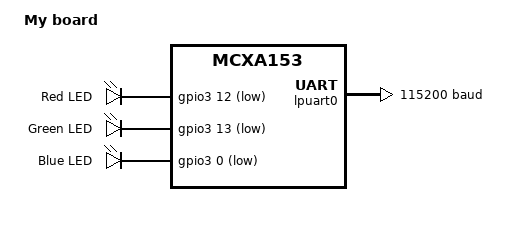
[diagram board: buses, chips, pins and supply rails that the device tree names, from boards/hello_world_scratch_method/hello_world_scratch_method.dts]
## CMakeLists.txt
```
cmake_minimum_required(VERSION 3.20.0)

list(APPEND BOARD_ROOT ${CMAKE_CURRENT_SOURCE_DIR})
set(DTC_OVERLAY_FILE "${CMAKE_CURRENT_SOURCE_DIR}/app.overlay")

find_package(Zephyr REQUIRED)
project(my_zephyr_app)

target_sources(app PRIVATE src/main.cpp)


add_subdirectory(drivers/our_driver)
add_subdirectory(drivers/base_sensor_driver)
```

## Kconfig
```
choice
    prompt "Led blink speed"
    default BLINK_SPEED_250MS

config BLINK_SPEED_250MS
    bool "Fast"

config BLINK_SPEED_1000MS
    bool "Normal"

config BLINK_SPEED_2000MS
    bool "Slow"        
endchoice

config BLINK_SLEEP_TIME_MS
    int 
    default 250 if BLINK_SPEED_250MS
    default 1000 if BLINK_SPEED_1000MS
    default 2000 if BLINK_SPEED_2000MS
    default 0

# Assignment l4-task1
config APP_HEARTBEAT_PERIOD_MS
    int "App heartbeat in ms"
    range 100 2000
    default 500


source "Kconfig.zephyr"
rsource "Kconfig.led"
rsource "drivers/our_driver/Kconfig"
rsource "drivers/base_sensor_driver/Kconfig"
```

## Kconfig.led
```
menuconfig LED_SUBSYSTEM
	bool "LED Subsystem"
	default y
	help
	  Enable support for the LED subsystem.

if LED_SUBSYSTEM

choice LED_BLINK_SLEEP_TIME
	prompt "LED blink sleep time"
	default LED_BLINK_SLEEP_MEDIUM
	help
	  Select the sleep time between LED blink phases.

config LED_BLINK_SLEEP_SHORT
	bool "100ms (short)"

config LED_BLINK_SLEEP_MEDIUM
	bool "1s (medium)"

config LED_BLINK_SLEEP_LONG
	bool "5s (long)"

endchoice

menuconfig LED_ADVANCED_SETTINGS
	bool "Advanced LED settings"
	help
	  Enable advanced LED configuration options.

if LED_ADVANCED_SETTINGS

config LED_BRIGHTNESS
	int "LED brightness (0-100)"
	range 0 100
	default 100
	help
	  Set the LED brightness as a percentage (0-100).

config LED_FADE_DURATION
	int "LED fade duration (ms)"
	default 500
	help
	  Duration of the LED fade effect in milliseconds.


menu "Expert settings"

config LED_DEBUG
	bool "Enable LED debugging"
	help
	  Enable debug output for the LED subsystem.

config LED_CUSTOM_BLINK_PATTERN
	bool "Custom blink pattern"
	help
	  Allow a user-defined LED blink pattern.

endmenu

endif # LED_ADVANCED_SETTINGS

endif # LED_SUBSYSTEM
```

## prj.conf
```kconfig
CONFIG_GPIO=y
CONFIG_LOG=y
CONFIG_OUR_DRIVER=y
CONFIG_BASE_SENSOR_DRIVER=y
CONFIG_SHELL=y
CONFIG_SHELL_BACKEND_SERIAL=y

CONFIG_BLINK_SPEED_2000MS=y
```

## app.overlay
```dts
// / {
// 	aliases{
// 		app-led = "/leds/led_0";
// 	};
// };

/ {
	our_driver0: our_driver0 {
		compatible = "our,driver";
		status = "okay";
	};

	our_driver1: our_driver1 {
		compatible = "our,driver";
		status = "okay";
	};
};

/ {
	base_sensor_driver: led-sensor {
		compatible = "base,sensor-driver";
		led-gpios = <&gpio0 13 GPIO_ACTIVE_HIGH>;
		status = "okay";
	};
};
```

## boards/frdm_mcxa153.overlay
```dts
/{
	leds{
		green_led: led_1{
			gpios = <&gpio3 0xd GPIO_ACTIVE_LOW>;
		};

		blue_led: led_2{
			gpios = <&gpio3 0x0 GPIO_ACTIVE_LOW>;
		};
	};
};
```

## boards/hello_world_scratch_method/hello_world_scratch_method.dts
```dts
/dts-v1/;

#include <nxp/nxp_mcxa153.dtsi>
#include "hello_world_scratch_method.dtsi"


/ {
	model = "My board";
	compatible = "iomico,my_board";

	aliases{
		led0 = &red_led;
		led1 = &green_led;
		led2 = &blue_led;
	};

	chosen{
		zephyr,sram = &sram0;
		zephyr,flash = &flash;
		zephyr,flash-controller = &fmu;
		zephyr,code-partition = &slot0_partition;
		zephyr,console = &lpuart0;
		zephyr,shell-uart = &lpuart0;
	};

	leds{
		compatible = "gpio-leds";

		red_led: led_0 {
			gpios = <&gpio3 12 GPIO_ACTIVE_LOW>;
			label = "Red LED";
		};

		green_led: led_1 {
			gpios = <&gpio3 13 GPIO_ACTIVE_LOW>;
			label = "Green LED";
		};

		blue_led: led_2 {
			gpios = <&gpio3 0 GPIO_ACTIVE_LOW>;
			label = "Blue LED";
		};
	};
};

&gpio3 {
	status = "okay";
};

&flash {
	partitions {
		compatible = "fixed-partitions";
		#address-cells = <1>;
		#size-cells = <1>;

		boot_partition: partition@0 {
			label = "mcuboot";
			reg = <0x00000000 DT_SIZE_K(32)>;
			read-only;
		};
		slot0_partition: partition@8000 {
			label = "image-0";
			reg = <0x00008000 DT_SIZE_K(40)>;
		};
		slot1_partition: partition@12000 {
			label = "image-1";
			reg = <0x00012000 DT_SIZE_K(40)>;
		};
		storage_partition: partition@1C000 {
			label = "storage";
			reg = <0x0001C000 DT_SIZE_K(16)>;
		};
	};
};

&lpuart0 {
	status = "okay";
	current-speed = <115200>;
	pinctrl-0 = <&pinmux_lpuart0>;
	pinctrl-names = "default";
};
```

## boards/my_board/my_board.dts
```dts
/dts-v1/;

#include <nxp/nxp_mcxa153.dtsi>


/ {
	model = "My board";
	compatible = "iomico,my_board";

	aliases{
		led0 = &red_led;
		led1 = &green_led;
		led2 = &blue_led;
	};

	chosen{
		zephyr,sram = &sram0;
		zephyr,flash = &flash;
		zephyr,flash-controller = &fmu;
		zephyr,code-partition = &slot0_partition;
	};

	leds{
		compatible = "gpio-leds";

		red_led: led_0 {
			gpios = <&gpio3 12 GPIO_ACTIVE_LOW>;
			label = "Red LED";
		};

		green_led: led_1 {
			gpios = <&gpio3 13 GPIO_ACTIVE_LOW>;
			label = "Green LED";
		};

		blue_led: led_2 {
			gpios = <&gpio3 0 GPIO_ACTIVE_LOW>;
			label = "Blue LED";
		};
	};
};

&gpio3 {
	status = "okay";
};

&flash {
	partitions {
		compatible = "fixed-partitions";
		#address-cells = <1>;
		#size-cells = <1>;

		boot_partition: partition@0 {
			label = "mcuboot";
			reg = <0x00000000 DT_SIZE_K(32)>;
			read-only;
		};
		slot0_partition: partition@8000 {
			label = "image-0";
			reg = <0x00008000 DT_SIZE_K(40)>;
		};
		slot1_partition: partition@12000 {
			label = "image-1";
			reg = <0x00012000 DT_SIZE_K(40)>;
		};
		storage_partition: partition@1C000 {
			label = "storage";
			reg = <0x0001C000 DT_SIZE_K(16)>;
		};
	};
};
```

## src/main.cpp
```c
#include "zephyr/drivers/sensor.h"
#include <zephyr/drivers/gpio.h>
#include <zephyr/kernel.h>
#include <zephyr/logging/log.h>

/* The devicetree node identifier for the "led0" alias. */
#define LED_NODE DT_ALIAS(led2)

/* devicetree reference by node label identifier */
//#define LED_NODE DT_NODELABEL(green_led)

/* devicetree reference by node path identifier */
// Blue led: /leds/led_2
//#define LED_NODE DT_PATH(leds, led_2)

/* devicetree reference by alias */
//#define LED_NODE DT_ALIAS(warning_led)

/* Assignment l4-task1 - to use the app.overlay alias */
//#define LED_NODE DT_ALIAS(app_led)


void hello_world(void);

static const struct gpio_dt_spec led = GPIO_DT_SPEC_GET(LED_NODE, gpios);

void hello_world(void)
{
	printk("hello world\n");
}

LOG_MODULE_REGISTER(main, LOG_LEVEL_INF);

namespace  {
    void test() {
        const struct device* driver = DEVICE_DT_GET(DT_NODELABEL(our_driver0));
        struct sensor_value val;
        auto ret = sensor_channel_get(driver, SENSOR_CHAN_AMBIENT_TEMP, &val);
        LOG_INF("Channel ret %d", ret);
    }

}

/* Custom API declaration */
struct base_sensor_driver_api {
	struct sensor_driver_api sensor_api;
	int (*set_blink_period)(const struct device *dev, uint32_t period_ms);
};

static inline int base_sensor_set_period(const struct device *dev, uint32_t ms)
{
	const struct base_sensor_driver_api *api =
		(const struct base_sensor_driver_api *)dev->api;
	return api->set_blink_period(dev, ms);
}

int main(void)
{
    // bool led_state = true;

    // hello_world();

    // if (!gpio_is_ready_dt(&led)) return 0;

    // if (gpio_pin_configure_dt(&led, GPIO_OUTPUT_ACTIVE) < 0) return 0;

    // while (1) {
    //     if (gpio_pin_toggle_dt(&led) < 0) return 0;

    //     led_state = !led_state;
    //     LOG_INF("LED state: %s", led_state ? "ON" : "OFF");
    //     //k_msleep(CONFIG_BLINK_SLEEP_TIME_MS);
    //     /* Assignment l4-task1 - use kconfig app heartbeat period */
    //     k_msleep(CONFIG_APP_HEARTBEAT_PERIOD_MS);

    // }

    const struct device *led_sensor = DEVICE_DT_GET(DT_NODELABEL(base_sensor_driver));

    if (!device_is_ready(led_sensor)) {
		printk("Sensor device not ready\n");
		return 0;
	}

    struct sensor_value val;

	/* Call custom API: change blink period to 500ms */
	base_sensor_set_period(led_sensor, 500);

    while(1){
	    sensor_sample_fetch(led_sensor);                          /* LED turns on */
	    printk("LED state: %d\n", val.val1);                           /* Should print 1 */
        k_msleep(CONFIG_APP_HEARTBEAT_PERIOD_MS);
    }
    return 0;
}
```
